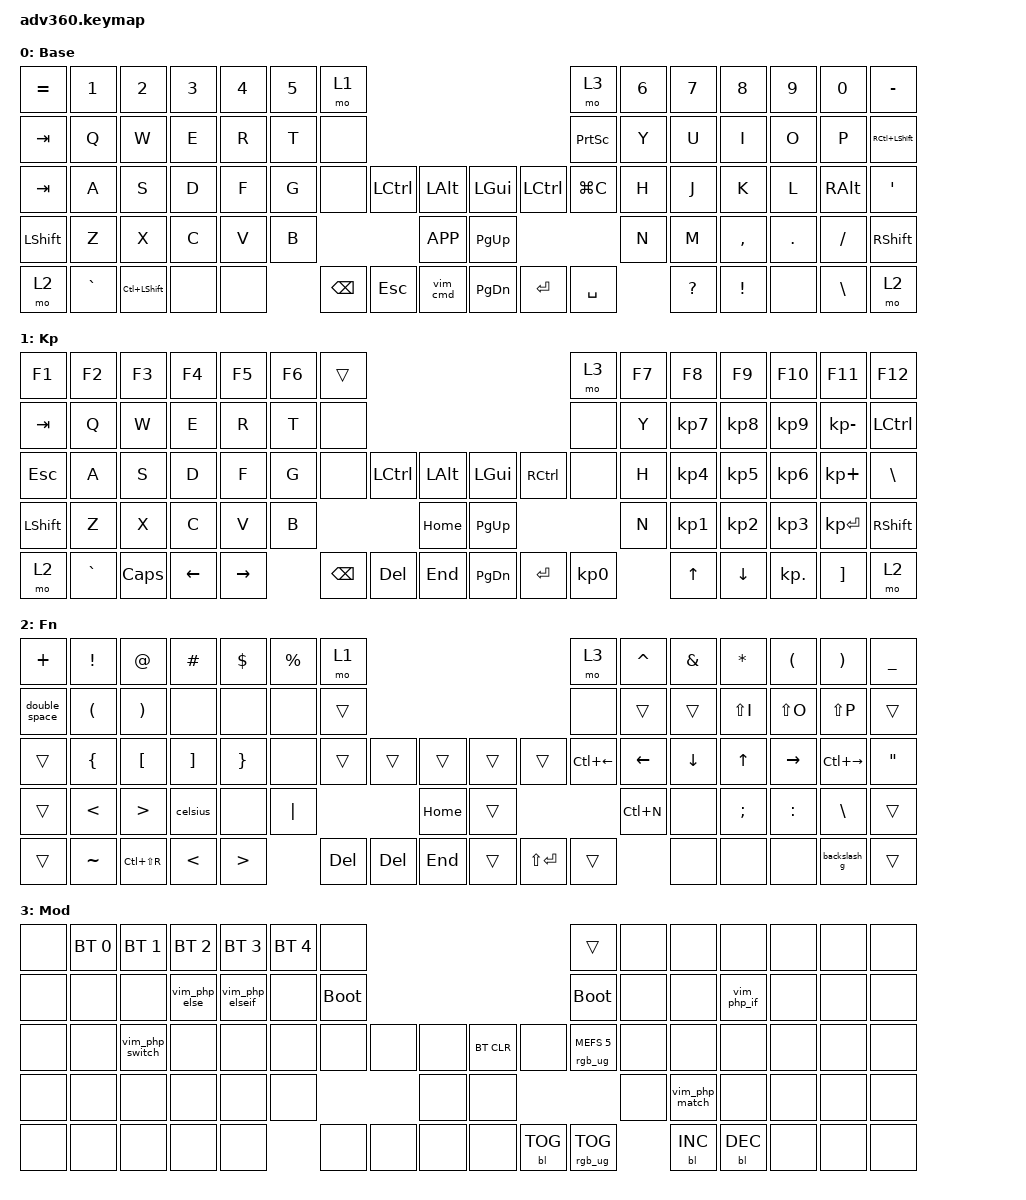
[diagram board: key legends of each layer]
/*
 * Copyright (c) 2020 The ZMK Contributors
 *
 * SPDX-License-Identifier: MIT
 */
/* THIS FILE WAS GENERATED!
 *
 * This file was generated automatically. You may or may not want to
 * edit it directly.
 */

#include <dt-bindings/zmk/stp.h>
#include <behaviors.dtsi>
#include <dt-bindings/zmk/backlight.h>
#include <dt-bindings/zmk/bt.h>
#include <dt-bindings/zmk/keys.h>
#include <dt-bindings/zmk/rgb.h>

/ {
    behaviors {
        #include "macros.dtsi"
    #include "version.dtsi"

        hm: homerow_mods {
            compatible = "zmk,behavior-hold-tap";
            label = "HOMEROW_MODS";
            #binding-cells = <2>;
            tapping-term-ms = <200>;
            quick_tap_ms = <175>;
            flavor = "tap-preferred";
            bindings = <&kp>, <&kp>;
        };
    };

    macros {
        backslash_g: backslash_g {
            compatible = "zmk,behavior-macro";
            #binding-cells = <0>;
            bindings = <&kp BACKSLASH &kp LS(G)>;
            label = "BACKSLASH_G";
        };

        tab_refresh: tab_refresh {
            compatible = "zmk,behavior-macro";
            #binding-cells = <0>;
            bindings = <&kp LA(TAB) &kp LC(LS(R))>;
            label = "TAB_REFRESH";
        };

        double_space: double_space {
            compatible = "zmk,behavior-macro";
            #binding-cells = <0>;
            bindings = <&kp SPACE &kp SPACE>;
            label = "DOUBLE_SPACE";
        };

        vim_cmd: vim_cmd {
            compatible = "zmk,behavior-macro";
            #binding-cells = <0>;
            bindings = <&kp ESCAPE &kp COLON>;
            label = "VIM_CMD";
        };

        semicolon_enter: semicolon_enter {
            compatible = "zmk,behavior-macro";
            #binding-cells = <0>;
            bindings = <&kp SEMICOLON &kp ENTER>;
            label = "SEMICOLON_ENTER";
        };

        celsius: celsius {
            compatible = "zmk,behavior-macro";
            #binding-cells = <0>;
            bindings = <&kp RC(LS(SINGLE_QUOTE)) &kp LS(C)>;
            label = "CELSIUS";
        };

        vim_php_if: vim_php_if {
            compatible = "zmk,behavior-macro";
            #binding-cells = <0>;
            bindings = <&kp ESCAPE &kp LS(A) &kp I &kp F &kp SPACE &kp LPAR &kp RPAR &kp SPACE &kp LBRC &kp ENTER &kp RIGHT_BRACE &kp ESCAPE &kp K &kp N4 &kp L &kp I>;
            label = "VIM_PHP_IF";
        };

        vim_php_else: vim_php_else {
            compatible = "zmk,behavior-macro";
            #binding-cells = <0>;
            bindings = <&kp ESCAPE &kp LS(A) &kp RBRC &kp SPACE &kp E &kp L &kp S &kp E &kp SPACE &kp LBRC &kp ENTER &kp RIGHT_BRACE &kp ESCAPE &kp LS(O)>;
            label = "VIM_PHP_ELSE";
        };

        vim_php_elseif: vim_php_elseif {
            compatible = "zmk,behavior-macro";
            #binding-cells = <0>;
            bindings = <&kp ESCAPE &kp LS(A) &kp RBRC &kp SPACE &kp E &kp L &kp S &kp E &kp I &kp F &kp SPACE &kp LPAR &kp RPAR &kp SPACE &kp LBRC &kp ENTER &kp RIGHT_BRACE &kp ESCAPE &kp K &kp NUMBER_1 &kp N0 &kp L &kp I>;
            label = "VIM_PHP_ELSEIF";
        };

        vim_php_switch: vim_php_switch {
            compatible = "zmk,behavior-macro";
            #binding-cells = <0>;
            bindings = <&kp ESCAPE &kp LS(A) &kp S &kp W &kp I &kp T &kp C &kp H &kp SPACE &kp LPAR &kp RPAR &kp SPACE &kp LBRC &kp ENTER &kp RIGHT_BRACE &kp ESCAPE &kp K &kp N8 &kp L &kp I>;
            label = "VIM_PHP_SWITCH";
        };

        vim_php_match: vim_php_match {
            compatible = "zmk,behavior-macro";
            #binding-cells = <0>;
            bindings = <&kp ESCAPE &kp LS(A) &kp M &kp A &kp T &kp C &kp H &kp SPACE &kp LPAR &kp RPAR &kp SPACE &kp LBRC &kp ENTER &kp RIGHT_BRACE &kp SEMI &kp ESCAPE &kp K &kp FSLH &kp RPAR &kp RET &kp I>;
            label = "VIM_PHP_MATCH";
        };
    };

    keymap {
        compatible = "zmk,keymap";

        default_layer {
            display-name = "Base";
            bindings = <
&kp EQUAL  &kp N1     &kp N2              &kp NUMBER_3  &kp NUMBER_4  &kp NUMBER_5  &mo 1                                                      &mo 3            &kp NUMBER_6  &kp N7     &kp N8     &kp N9   &kp N0         &kp MINUS
&kp TAB    &kp Q      &kp W               &kp E         &kp R         &kp T         &none                                                      &kp PRINTSCREEN  &kp Y         &kp U      &kp I      &kp O    &kp P          &kp RC(LSHFT)
&kp TAB    &kp A      &kp S               &kp D         &kp F         &kp G         &none     &kp LCTRL   &kp LALT       &kp LGUI   &kp LCTRL  &kp LG(C)        &kp H         &kp J      &kp K      &kp L    &kp RIGHT_ALT  &kp SINGLE_QUOTE
&kp LSHFT  &kp Z      &kp X               &kp C         &kp V         &kp B                               &kp K_APP      &kp PG_UP                              &kp N         &kp M      &kp COMMA  &kp DOT  &kp SLASH      &kp RSHFT
&mo 2      &kp GRAVE  &kp LC(LEFT_SHIFT)  &none         &none                       &kp BSPC  &kp ESCAPE  &vim_cmd       &kp PG_DN  &kp ENTER  &kp SPACE                      &kp QMARK  &kp EXCL   &none    &kp BACKSLASH  &mo 2
            >;
        };

        layer_keypad {
            display-name = "Kp";
            bindings = <
&kp F1     &kp F2     &kp F3    &kp F4    &kp F5     &kp F6  &trans                                                   &mo 3      &kp F7  &kp F8     &kp F9     &kp F10     &kp F11       &kp F12
&kp TAB    &kp Q      &kp W     &kp E     &kp R      &kp T   &none                                                    &none      &kp Y   &kp KP_N7  &kp KP_N8  &kp KP_N9   &kp KP_MINUS  &kp LCTRL
&kp ESC    &kp A      &kp S     &kp D     &kp F      &kp G   &none     &kp LCTRL  &kp LALT      &kp LGUI   &kp RCTRL  &none      &kp H   &kp KP_N4  &kp KP_N5  &kp KP_N6   &kp KP_PLUS   &kp BACKSLASH
&kp LSHFT  &kp Z      &kp X     &kp C     &kp V      &kp B                        &kp HOME      &kp PG_UP                        &kp N   &kp KP_N1  &kp KP_N2  &kp KP_N3   &kp KP_ENTER  &kp RSHFT
&mo 2      &kp GRAVE  &kp CAPS  &kp LEFT  &kp RIGHT          &kp BSPC  &kp DEL    &kp END       &kp PG_DN  &kp ENTER  &kp KP_N0          &kp UP     &kp DOWN   &kp KP_DOT  &kp RBKT      &mo 2
            >;
        };

        layer_fn {
            display-name = "Fn";
            bindings = <
&kp PLUS       &kp EXCLAMATION       &kp AT                 &kp HASH           &kp DOLLAR       &kp PERCENT  &mo 1                                                     &mo 3         &kp CARET  &kp AMPS  &kp ASTERISK   &kp LEFT_PARENTHESIS  &kp RIGHT_PARENTHESIS  &kp UNDERSCORE
&double_space  &kp LEFT_PARENTHESIS  &kp RIGHT_PARENTHESIS  &none              &none            &none        &trans                                                    &none         &trans     &trans    &kp LS(I)      &kp LS(O)             &kp LS(P)              &trans
&trans         &kp LEFT_BRACE        &kp LEFT_BRACKET       &kp RIGHT_BRACKET  &kp RIGHT_BRACE  &none        &trans      &trans   &trans        &trans  &trans         &kp LC(LEFT)  &kp LEFT   &kp DOWN  &kp UP         &kp RIGHT             &kp LC(RIGHT)          &kp DOUBLE_QUOTES
&trans         &kp LT                &kp GREATER_THAN       &celsius           &none            &kp PIPE                          &kp HOME      &trans                               &kp LC(N)  &none     &kp SEMICOLON  &kp COLON             &kp BACKSLASH          &trans
&trans         &kp TILDE             &kp LC(LS(R))          &kp LT             &kp GT                        &kp DELETE  &kp DEL  &kp END       &trans  &kp LS(ENTER)  &trans                   &none     &none          &none                 &backslash_g           &trans
            >;
        };

        layer_mod {
            display-name = "Mod";
            bindings = <
&none  &bt BT_SEL 0  &bt BT_SEL 1     &bt BT_SEL 2   &bt BT_SEL 3     &bt BT_SEL 4  &none                                                  &trans                  &none  &none           &none        &none  &none  &none
&none  &none         &none            &vim_php_else  &vim_php_elseif  &none         &bootloader                                            &bootloader             &none  &none           &vim_php_if  &none  &none  &none
&none  &none         &vim_php_switch  &none          &none            &none         &none        &none  &none      &bt BT_CLR  &none       &rgb_ug RGB_MEFS_CMD 5  &none  &none           &none        &none  &none  &none
&none  &none         &none            &none          &none            &none                             &none      &none                                           &none  &vim_php_match  &none        &none  &none  &none
&none  &none         &none            &none          &none                          &none        &none  &none      &none       &bl BL_TOG  &rgb_ug RGB_TOG                &bl BL_INC      &bl BL_DEC   &none  &none  &none
            >;
        };

        extra1 {
            display-name = "Red";
            status = "reserved";
        };

        extra2 {
            display-name = "Purple";
            status = "reserved";
        };

        extra3 {
            display-name = "Cyan";
            status = "reserved";
        };

        extra4 {
            display-name = "Yellow";
            status = "reserved";
        };
    };
};
